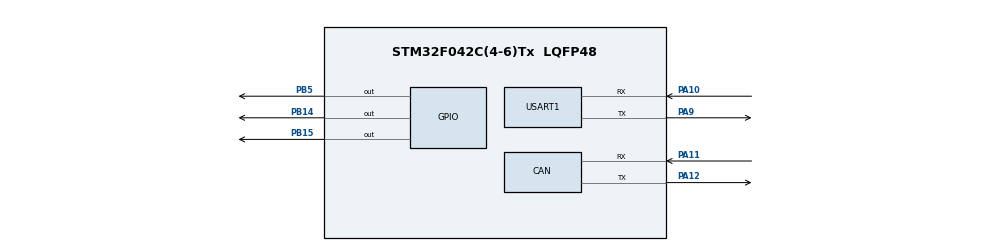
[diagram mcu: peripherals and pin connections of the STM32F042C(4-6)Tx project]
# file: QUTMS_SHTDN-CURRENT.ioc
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CAN.BS1=CAN_BS1_9TQ
CAN.BS2=CAN_BS2_8TQ
CAN.CalculateTimeQuantum=2000.0
Mcu.Family=STM32F0
Mcu.Name=STM32F042C(4-6)Tx
Mcu.Package=LQFP48
PA10.Mode=Asynchronous
PA10.Signal=USART1_RX
PA11.Mode=Master
PA11.Signal=CAN_RX
PA12.Mode=Master
PA12.Signal=CAN_TX
PA9.Mode=Asynchronous
PA9.Signal=USART1_TX
PB14.Signal=GPIO_Output
PB15.Signal=GPIO_Output
PB5.Signal=GPIO_Output
ProjectManager.HeapSize=0x200
ProjectManager.StackSize=0x400
ProjectManager.TargetToolchain=STM32CubeIDE
USART1.VirtualMode-Asynchronous=VM_ASYNC
board=custom

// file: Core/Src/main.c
/* USER CODE BEGIN Header */
/**
  ******************************************************************************
  * @file           : main.c
  * @brief          : Main program body
  ******************************************************************************
  * @attention
  *
  * <h2><center>&copy; Copyright (c) 2020 STMicroelectronics.
  * All rights reserved.</center></h2>
  *
  * This software component is licensed by ST under BSD 3-Clause license,
  * the "License"; You may not use this file except in compliance with the
  * License. You may obtain a copy of the License at:
  *                        opensource.org/licenses/BSD-3-Clause
  *
  ******************************************************************************
  */
/* USER CODE END Header */

#include "main.h"
#include "can.h"
#include "usart.h"
#include "gpio.h"

/* USER CODE BEGIN PV */
CAN_TxHeaderTypeDef TxHeader;

uint8_t TxData[8];
uint32_t TxMailbox;
/* USER CODE END PV */

void SystemClock_Config(void);

int main(void)
{
  /* USER CODE BEGIN 1 */
 char msg[256];

	TxHeader.ExtId = 0x02;
	TxHeader.IDE = CAN_ID_EXT;
	TxHeader.RTR = CAN_RTR_DATA;
	TxHeader.DLC = 2;
	TxHeader.TransmitGlobalTime = DISABLE;
  /* USER CODE END 1 */

  /* MCU Configuration--------------------------------------------------------*/

  /* Reset of all peripherals, Initializes the Flash interface and the Systick. */
  HAL_Init();

  /* Configure the system clock */
  SystemClock_Config();

  /* Initialize all configured peripherals */
  MX_GPIO_Init();
  MX_USART1_UART_Init();
  MX_CAN_Init();
  /* USER CODE BEGIN 2 */

  if (HAL_CAN_Start(&hcan) != HAL_OK)
    {
      Error_Handler();
    }

  /* USER CODE END 2 */

  /* Infinite loop */
  while (1)
  {

    /* USER CODE BEGIN 3 */
	  sprintf(msg, "test");
	  	  HAL_UART_Transmit(&huart1, (uint8_t*) msg, strlen((char*) msg), HAL_MAX_DELAY);

	  		TxData[0] = 0;//vol_low;
	  		TxData[1] = 1;//vol_high;
	  		// Request transmisison
	  					if (HAL_CAN_AddTxMessage(&hcan, &TxHeader, TxData, &TxMailbox)
	  							!= HAL_OK) {
	  						sprintf(msg, "can error\r\n");
	  								HAL_UART_Transmit(&huart1, (uint8_t*) msg, strlen((char*) msg),
	  										HAL_MAX_DELAY);
	  						Error_Handler();
	  					}

	  		HAL_GPIO_WritePin(GPIOB, GPIO_PIN_15, GPIO_PIN_RESET);

	  		HAL_Delay(1000);

	  		HAL_GPIO_WritePin(GPIOB, GPIO_PIN_15, GPIO_PIN_SET);

	  		HAL_Delay(1000);

  }
  /* USER CODE END 3 */
}

void SystemClock_Config(void)
{
  RCC_OscInitTypeDef RCC_OscInitStruct = {0};
  RCC_ClkInitTypeDef RCC_ClkInitStruct = {0};
  RCC_PeriphCLKInitTypeDef PeriphClkInit = {0};

  /** Initializes the CPU, AHB and APB busses clocks
  */
  RCC_OscInitStruct.OscillatorType = RCC_OSCILLATORTYPE_HSI;
  RCC_OscInitStruct.HSIState = RCC_HSI_ON;
  RCC_OscInitStruct.HSICalibrationValue = RCC_HSICALIBRATION_DEFAULT;
  RCC_OscInitStruct.PLL.PLLState = RCC_PLL_NONE;
  if (HAL_RCC_OscConfig(&RCC_OscInitStruct) != HAL_OK)
  {
    Error_Handler();
  }
  /** Initializes the CPU, AHB and APB busses clocks
  */
  RCC_ClkInitStruct.ClockType = RCC_CLOCKTYPE_HCLK|RCC_CLOCKTYPE_SYSCLK
                              |RCC_CLOCKTYPE_PCLK1;
  RCC_ClkInitStruct.SYSCLKSource = RCC_SYSCLKSOURCE_HSI;
  RCC_ClkInitStruct.AHBCLKDivider = RCC_SYSCLK_DIV1;
  RCC_ClkInitStruct.APB1CLKDivider = RCC_HCLK_DIV1;

  if (HAL_RCC_ClockConfig(&RCC_ClkInitStruct, FLASH_LATENCY_0) != HAL_OK)
  {
    Error_Handler();
  }
  PeriphClkInit.PeriphClockSelection = RCC_PERIPHCLK_USART1;
  PeriphClkInit.Usart1ClockSelection = RCC_USART1CLKSOURCE_PCLK1;
  if (HAL_RCCEx_PeriphCLKConfig(&PeriphClkInit) != HAL_OK)
  {
    Error_Handler();
  }
}

void Error_Handler(void)
{
  /* USER CODE BEGIN Error_Handler_Debug */
  /* User can add his own implementation to report the HAL error return state */
	HAL_GPIO_WritePin(GPIOB, GPIO_PIN_15, GPIO_PIN_RESET);
  /* USER CODE END Error_Handler_Debug */
}

/************************ (C) COPYRIGHT STMicroelectronics *****END OF FILE****/
